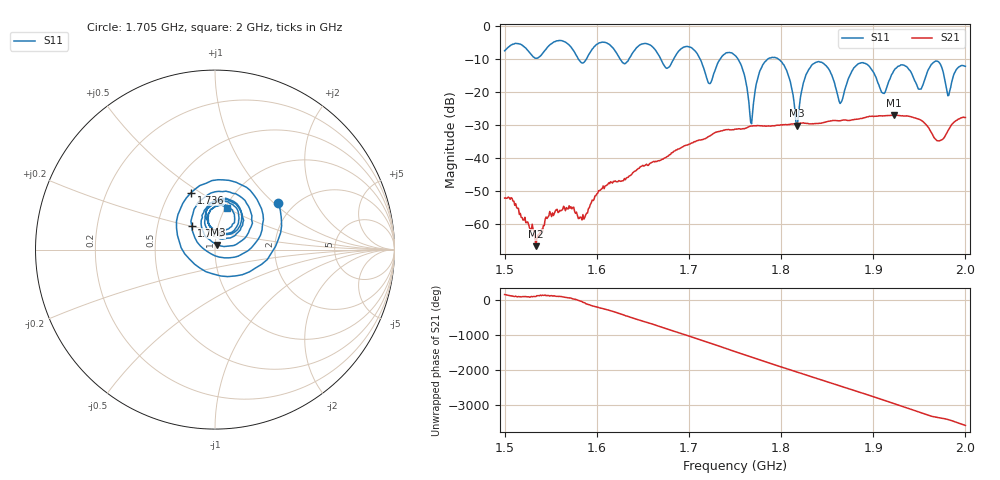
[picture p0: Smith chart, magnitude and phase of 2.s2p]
! NanoVNA-App by SYSJOINT et al v1.1.209 (+OD18)
! Date: 2026-01-21 14:53:10
! Start: 1,5GHz Stop: 2GHz Points: 501
! S-Parameter data: F S11 S21 S12 S22
# Hz S RI R 50
!  Frequency  S11_Real  S11_Imag  S21_Real  S21_Imag  S12_Real  S12_Imag  S22_Real  S22_Imag
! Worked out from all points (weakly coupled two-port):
!   501 points, 1.5 GHz to 2 GHz, reference 50 ohm
!   highest |S21| = -27.11 dB at 1.922 GHz (marker M1); lowest = -66.8 dB at 1.534 GHz (marker M2)
!   lowest |S11| = -30.3 dB at 1.817 GHz (marker M3), VSWR 1.06, Z = 51.3 + j2.81 ohm
!   |S11| at or under -10 dB: 1.712 GHz to 1.734 GHz (22.22 MHz wide, 1.29 % of centre); 1.753 GHz to 1.786 GHz (32.98 MHz wide, 1.86 % of centre); 1.797 GHz to end of sweep (the widest 3 of 6)
!   S12 and S22 are empty: the file has one direction only
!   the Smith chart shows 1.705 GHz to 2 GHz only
!   S11 on the Smith chart (normalised r, x): 1.705 GHz: 1.67, +1.07; 1.736 GHz: 0.64, +0.46; 1.776 GHz: 0.75, +0.21; 2 GHz: 1.02, +0.51
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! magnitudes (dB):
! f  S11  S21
! 1.5 GHz  -7.6  -52.2
! 1.534 GHz  -9.9  -66.8
! 1.561 GHz  -4.5  -56.1
! 1.584 GHz  -11.3  -58.9
! 1.667 GHz  -8.8  -40.9
! 1.705 GHz  -7.2  -35.3
! 1.722 GHz  -17.5  -33.5
! 1.736 GHz  -9.3  -31.9
! 1.75 GHz  -9.0  -31.4
! 1.767 GHz  -29.3  -30.4
! 1.776 GHz  -14.6  -30.3
! 1.801 GHz  -11.1  -30.1
! 1.817 GHz  -30.3  -29.6
! 1.834 GHz  -11.7  -29.7
! 1.864 GHz  -23.6  -28.8
! 1.885 GHz  -11.4  -28.2
! 1.917 GHz  -16.8  -27.2
! 1.922 GHz  -13.8  -27.1
! 1.951 GHz  -19.2  -28.5
! 1.97 GHz  -10.8  -34.9
! 1.982 GHz  -21.1  -31.4
! 2 GHz  -12.3  -27.8
